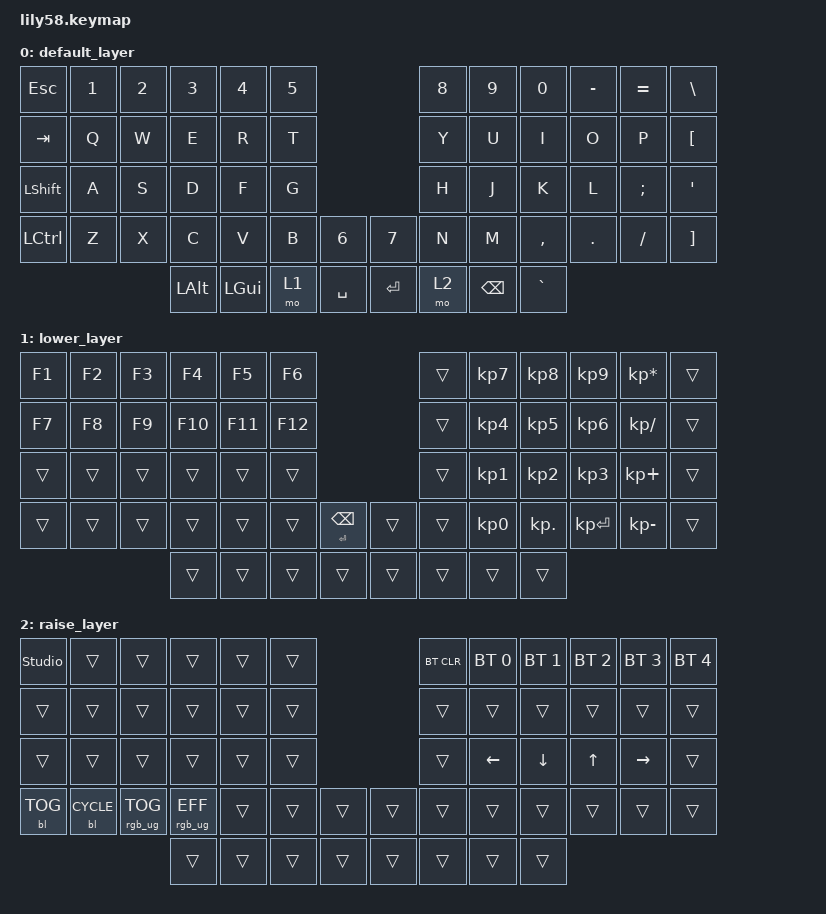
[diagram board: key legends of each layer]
/*
 * Copyright (c) 2020 The ZMK Contributors
 *
 * SPDX-License-Identifier: MIT
 */

#include <behaviors.dtsi>
#include <dt-bindings/zmk/backlight.h>
#include <dt-bindings/zmk/bt.h>
#include <dt-bindings/zmk/keys.h>
#include <dt-bindings/zmk/rgb.h>

/ {
    combos {
        compatible = "zmk,combos";

        studio {
            bindings = <&studio_unlock>;
            key-positions = <42 43>;
            layers = <0>;
            timeout-ms = <0>;
        };
    };

    keymap {
        compatible = "zmk,keymap";

        default_layer {
            // ------------------------------------------------------------------------------------------------------------
            // |  ESC  |  1  |  2  |  3   |  4   |  5   |                   |  6   |  7    |  8    |  9   |   0   |   `   |
            // |  TAB  |  Q  |  W  |  E   |  R   |  T   |                   |  Y   |  U    |  I    |  O   |   P   |   -   |
            // |  CTRL |  A  |  S  |  D   |  F   |  G   |                   |  H   |  J    |  K    |  L   |   ;   |   '   |
            // | SHIFT |  Z  |  X  |  C   |  V   |  B   |   "["  |  |  "]"  |  N   |  M    |  ,    |  .   |   /   | SHIFT |
            //                     | ALT  | GUI  | LOWER|  SPACE |  | ENTER | RAISE| BSPC  | GUI   |

            bindings = <
&kp ESC           &kp N1  &kp N2  &kp N3    &kp N4    &kp N5                        &kp N8  &kp N9    &kp N0     &kp MINUS  &kp EQUAL  &kp BACKSLASH
&kp TAB           &kp Q   &kp W   &kp E     &kp R     &kp T                         &kp Y   &kp U     &kp I      &kp O      &kp P      &kp LEFT_BRACKET
&kp LEFT_SHIFT    &kp A   &kp S   &kp D     &kp F     &kp G                         &kp H   &kp J     &kp K      &kp L      &kp SEMI   &kp SQT
&kp LEFT_CONTROL  &kp Z   &kp X   &kp C     &kp V     &kp B   &kp N6       &kp N7   &kp N   &kp M     &kp COMMA  &kp DOT    &kp FSLH   &kp RIGHT_BRACKET
                                  &kp LALT  &kp LGUI  &mo 1   &kp SPACE    &kp RET  &mo 2   &kp BSPC  &kp GRAVE
            >;
        };

        lower_layer {
            // ------------------------------------------------------------------------------------------------------------
            // |       | BRDn | BRUp |  MUT |  Vo- |  Vo+ |                   |      |       |       |      |       |       |
            // |  F1   |  F2  |  F3  |  F4  |  F5  |  F6  |                   |  F7  |  F8   |  F9   |  F10 |  F11  |  F12  |
            // |   `   |  !   |  @   |  #   |  $   |  %   |                   |  ^   |  &    |  *    |  (   |   )   |   ~   |
            // |       |      |      |      |      |      |        |  |       |      |  _    |  +    |  {   |   }   |  "|"  |
            //                       |      |      |      |        |  |       |      |       |       |

            bindings = <
&kp F1  &kp F2  &kp F3  &kp F4   &kp F5   &kp F6                                &trans  &kp KP_NUMBER_7  &kp KP_NUMBER_8  &kp KP_NUMBER_9  &kp KP_ASTERISK  &trans
&kp F7  &kp F8  &kp F9  &kp F10  &kp F11  &kp F12                               &trans  &kp KP_NUMBER_4  &kp KP_NUMBER_5  &kp KP_NUMBER_6  &kp KP_DIVIDE    &trans
&trans  &trans  &trans  &trans   &trans   &trans                                &trans  &kp KP_NUMBER_1  &kp KP_NUMBER_2  &kp KP_NUMBER_3  &kp KP_PLUS      &trans
&trans  &trans  &trans  &trans   &trans   &trans   &mt RET BACKSPACE    &trans  &trans  &kp KP_NUMBER_0  &kp KP_DOT       &kp KP_ENTER     &kp KP_SUBTRACT  &trans
                        &trans   &trans   &trans   &trans               &trans  &trans  &trans           &trans
            >;
        };

        raise_layer {
            // ------------------------------------------------------------------------------------------------------------
            // |       |     |     |      |      |      |                   | Bt clear | Bt 0 | Bt 1 | Bt 2 | Bt 3 | Bt 4 |
            // |   `   |  1  |  2  |  3   |  4   |  5   |                   |          |      |      |      |      |      |
            // |   F1  |  F2 |  F3 |  F4  |  F5  |  F6  |                   |          |  <-  |  v   |  ^   |  ->  |      |
            // |   F7  |  F8 |  F9 |  F10 |  F11 |  F12 |        |  |       |    +     |  -   |  =   |  [   |  ]   |  \   |
            //                     |      |      |      |        |  |       |          |      |      |

            bindings = <
&studio_unlock  &trans        &trans           &trans           &trans  &trans                    &bt BT_CLR  &bt BT_SEL 0  &bt BT_SEL 1  &bt BT_SEL 2  &bt BT_SEL 3  &bt BT_SEL 4
&trans          &trans        &trans           &trans           &trans  &trans                    &trans      &trans        &trans        &trans        &trans        &trans
&trans          &trans        &trans           &trans           &trans  &trans                    &trans      &kp LEFT      &kp DOWN      &kp UP        &kp RIGHT     &trans
&bl BL_TOG      &bl BL_CYCLE  &rgb_ug RGB_TOG  &rgb_ug RGB_EFF  &trans  &trans  &trans    &trans  &trans      &trans        &trans        &trans        &trans        &trans
                                               &trans           &trans  &trans  &trans    &trans  &trans      &trans        &trans
            >;
        };
    };
};
